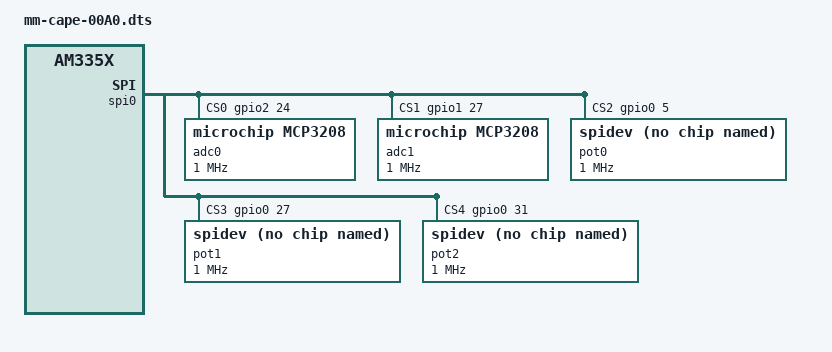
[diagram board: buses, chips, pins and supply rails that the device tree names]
/dts-v1/;
/plugin/;

/ {
    compatible = "ti,am335x-pocketbeagle";
    part-number = "mm-cape";
    version = "00A0";

	fragment@0 {
		target = <&ocp>;
		__overlay__ {
			P1_08_pinmux { status = "disabled"; }; /* SCLK   - spi0_sclk     - P1_08 */
			P1_10_pinmux { status = "disabled"; }; /* MISO   - spi0_d0       - P1_10 */
			P1_12_pinmux { status = "disabled"; }; /* MOSI   - spi0_d1       - P1_12 */
			P1_35_pinmux { status = "disabled"; }; /* CS0    - lcd_pclk      - P1_35 */
			P2_02_pinmux { status = "disabled"; }; /* CS1    - gpmc_a11      - P2_02 */
			P1_06_pinmux { status = "disabled"; }; /* CS2    - spi0_cs0      - P1_06 */
			P2_19_pinmux { status = "disabled"; }; /* CS3    - gpmc_ad11     - P2_19 */
			P2_07_pinmux { status = "disabled"; }; /* CS4    - gpmc_wpn      - P2_07 */
			P1_36_pinmux { status = "disabled"; }; /* PRU0_0 - mcasp0_aclkx  - P1_36 */
			P1_33_pinmux { status = "disabled"; }; /* PRU0_1 - mcasp0_fsx    - P1_33 */
			P2_32_pinmux { status = "disabled"; }; /* PRU0_2 - mcasp0_axr0   - P2_32 */
			P2_30_pinmux { status = "disabled"; }; /* PRU0_3 - mcasp0_ahclkr - P2_30 */
			P1_31_pinmux { status = "disabled"; }; /* PRU0_4 - mcasp0_aclkr  - P1_31 */
		};
	};
	
	fragment@1 {
		target = <&ocp>;
		__overlay__ {
			cape-universal { status = "disabled"; };
		};
	};
	
	fragment@2 {
		target = <&ocp>;
		__overlay__ {
			cape-universal@1 {
				compatible = "gpio-of-helper";
				status = "okay";
				pinctrl-names = "default";
				pinctrl-0 = <>;
			};
		};
	};
	
	fragment@3 {
		target = <&am33xx_pinmux>;
		__overlay__ {
			spi0_pins: spi0_pins {
				pinctrl-single,pins = <
					0x150 0x30 /* SCLK   - spi0_sclk     (MODE0 | INPUT  | PULLUP) */
					0x154 0x30 /* MISO   - spi0_d0       (MODE0 | INPUT  | PULLUP) */
					0x158 0x10 /* MOSI   - spi0_d1       (MODE0 | OUTPUT | PULLUP) */
					0x0e8 0x17 /* CS0    - lcd_pclk      (MODE7 | OUTPUT | PULLUP) */
					0x06c 0x17 /* CS1    - gpmc_a11      (MODE7 | OUTPUT | PULLUP) */
					0x15c 0x17 /* CS2    - spi0_cs0      (MODE7 | OUTPUT | PULLUP) */
					0x02c 0x17 /* CS3    - gpmc_ad11     (MODE7 | OUTPUT | PULLUP) */
					0x074 0x17 /* CS4    - gpmc_wpn      (MODE7 | OUTPUT | PULLUP) */
				>;
			};
			
			mm_pru_pins: mm_pru_pins {
				pinctrl-single,pins = <
					0x190 0x15 /* PRU0_0 - mcasp0_aclkx  (MODE5 | OUTPUT | PULLUP) */
					0x194 0x15 /* PRU0_1 - mcasp0_fsx    (MODE5 | OUTPUT | PULLUP) */
				>;
			};
			
			mm_gpio_pins: mm_gpio_pins {
				pinctrl-single,pins = <
					0x198 0x17 /* PRU0_2 - mcasp0_axr0   (MODE7 | OUTPUT | PULLUP) */
					0x19C 0x17 /* PRU0_3 - mcasp0_ahclkr (MODE7 | OUTPUT | PULLUP) */ 
					0x1A0 0x17 /* PRU0_4 - mcasp0_aclkr  (MODE7 | OUTPUT | PULLUP) */
				>;
			};
		};
	};
	
	fragment@4 {
	target = <&spi0>;
        __overlay__ {
            #address-cells = <1>;
            #size-cells = <0>;
			status = "okay";
			pinctrl-names = "default";
			pinctrl-0 = <&spi0_pins>;
	        cs-gpios = <&gpio2 24 0>, 
						<&gpio1 27 0>, 
						<&gpio0 5 0>, 
						<&gpio0 27 0>, 
						<&gpio0 31 0>;
						
			channel@0 {
				status = "disabled";
			};
			
			channel@1 {
				status = "disabled";
			};
	        
	        adc0: mcp320x@0 {
                compatible = "microchip,mcp3208";
                reg = <0>;
                spi-max-frequency = <1000000>;
            };
			
			adc1: mcp320x@1 {
                compatible = "microchip,mcp3208";
                reg = <1>;
                spi-max-frequency = <1000000>;
            };
			
			pot0: spidev@2 {
				compatible = "spidev";
				reg = <2>;
				spi-max-frequency = <1000000>;
			};
			
			pot1: spidev@3 {
				compatible = "spidev";
				reg = <3>;
				spi-max-frequency = <1000000>;
			};
			
			pot2: spidev@4 {
				compatible = "spidev";
				reg = <4>;
				spi-max-frequency = <1000000>;
			};
        };
    };
	
	fragment@5 {
		target = <&ocp>;
		__overlay__ {
			mm_pin_helper: mm_pin_helper {
				compatible = "bone-pinmux-helper";
				pinctrl-names = "default";
				pinctrl-0 = <&mm_gpio_pins &mm_pru_pins>;
				status = "okay";
			};
		};
	};
};

